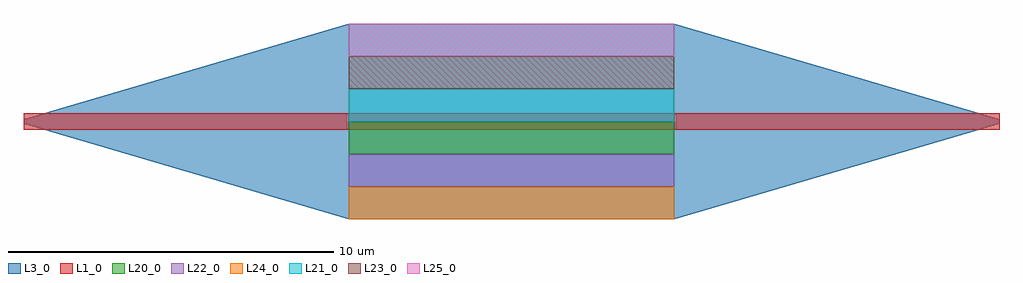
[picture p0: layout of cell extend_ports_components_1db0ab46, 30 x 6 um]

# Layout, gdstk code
import gdstk
lib = gdstk.Library(unit=1e-6, precision=1e-09)
def R(c, l, rs):  # rectangles x0, y0, x1, y1
    for r in rs: c.add(gdstk.rectangle(r[:2], r[2:], *l))
def P(c, l, *ps):  # polygons
    for p in ps: c.add(gdstk.Polygon(p, *l))
L1_0 = (1, 0)
L3_0 = (3, 0)
L20_0 = (20, 0)
L21_0 = (21, 0)
L22_0 = (22, 0)
L23_0 = (23, 0)
L24_0 = (24, 0)
L25_0 = (25, 0)

straight_cross_sectionpn = lib.new_cell('straight_cross_sectionpn')
R(straight_cross_sectionpn, L1_0, [(0,-0.25,10,0.25)])
R(straight_cross_sectionpn, L3_0, [(0,-3,10,3)])
R(straight_cross_sectionpn, L20_0, [(0,-1,10,0)])
R(straight_cross_sectionpn, L21_0, [(0,0,10,1)])
R(straight_cross_sectionpn, L22_0, [(0,-2,10,-1)])
R(straight_cross_sectionpn, L23_0, [(0,1,10,2)])
R(straight_cross_sectionpn, L24_0, [(0,-3,10,-2)])
R(straight_cross_sectionpn, L25_0, [(0,2,10,3)])

extend_ports_components_ = lib.new_cell('extend_ports_components_1db0ab46')
R(extend_ports_components_, L1_0, [(-10,-0.25,0,0.25), (10,-0.25,20,0.25)])
P(extend_ports_components_, L3_0, [(-10,0.075),(0,3),(0,-3),(-10,-0.075)],
  [(20,-0.075),(10,-3),(10,3),(20,0.075)])
extend_ports_components_.add(gdstk.Reference(straight_cross_sectionpn, (0,0)))

lib.write_gds('extend_ports_components_1db0ab46.gds')
